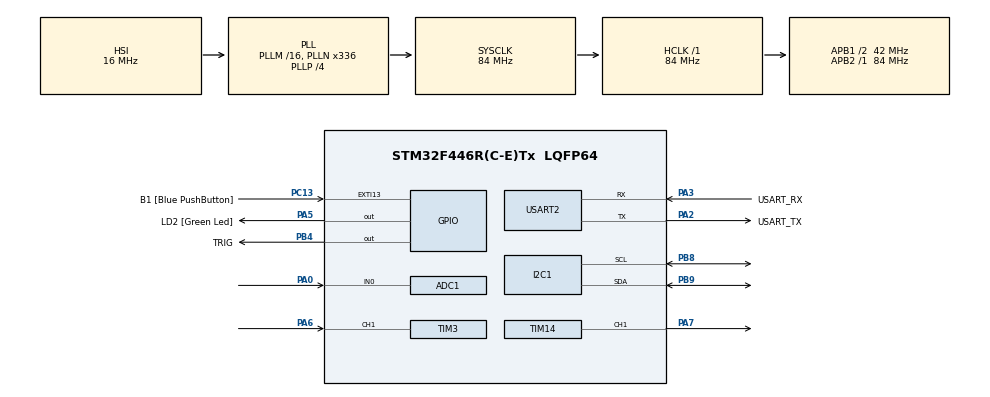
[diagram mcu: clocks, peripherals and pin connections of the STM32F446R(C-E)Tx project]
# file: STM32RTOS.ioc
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ADC1.Channel-0\#ChannelRegularConversion=ADC_CHANNEL_0
ADC1.NbrOfConversionFlag=1
ADC1.Rank-0\#ChannelRegularConversion=1
ADC1.SamplingTime-0\#ChannelRegularConversion=ADC_SAMPLETIME_3CYCLES
ADC1.master=1
FREERTOS.Tasks01=BLINK0,8,128,STARTBLINK0,Default,NULL,Dynamic,NULL,NULL;BLINK1,8,128,STARTBLINK1,Default,NULL,Dynamic,NULL,NULL;HANDLELCD,24,128,UPDATELCD,Default,NULL,Dynamic,NULL,NULL;HANDLEMOTION,32,128,UPDATEMOTION,Default,NULL,Dynamic,NULL,NULL;HANDLEDISTANCE,48,128,UPDATEDISTANCE,Default,NULL,Dynamic,NULL,NULL;HANDLESERVO,24,128,UPDATESERVO,Default,NULL,Dynamic,NULL,NULL
Mcu.Family=STM32F4
Mcu.Name=STM32F446R(C-E)Tx
Mcu.Package=LQFP64
NVIC.ADC_IRQn=true\:5\:0\:false\:false\:true\:true\:true\:true\:true
NVIC.PriorityGroup=NVIC_PRIORITYGROUP_4
NVIC.TIM3_IRQn=true\:5\:0\:false\:false\:true\:true\:true\:true\:true
NVIC.TIM7_IRQn=true\:15\:0\:false\:false\:true\:false\:false\:true\:true
NVIC.TIM8_BRK_TIM12_IRQn=true\:5\:0\:false\:false\:true\:true\:true\:true\:true
NVIC.TimeBase=TIM7_IRQn
NVIC.TimeBaseIP=TIM7
PA0-WKUP.Signal=ADCx_IN0
PA13.GPIO_Label=TMS
PA13.Mode=Serial_Wire
PA13.Signal=SYS_JTMS-SWDIO
PA14.GPIO_Label=TCK
PA14.Mode=Serial_Wire
PA14.Signal=SYS_JTCK-SWCLK
PA2.GPIO_Label=USART_TX
PA2.Mode=Asynchronous
PA2.Signal=USART2_TX
PA3.GPIO_Label=USART_RX
PA3.Mode=Asynchronous
PA3.Signal=USART2_RX
PA5.GPIO_Label=LD2 [Green Led]
PA5.Signal=GPIO_Output
PA6.Signal=S_TIM3_CH1
PA7.Signal=S_TIM14_CH1
PB3.GPIO_Label=SWO
PB3.Signal=SYS_JTDO-SWO
PB4.GPIO_Label=TRIG
PB4.Signal=GPIO_Output
PB8.Mode=I2C
PB8.Signal=I2C1_SCL
PB9.Mode=I2C
PB9.Signal=I2C1_SDA
PC13.GPIO_Label=B1 [Blue PushButton]
PC13.GPIO_ModeDefaultEXTI=GPIO_MODE_IT_FALLING
PC13.Signal=GPXTI13
PC14-OSC32_IN.Mode=LSE-External-Oscillator
PC14-OSC32_IN.Signal=RCC_OSC32_IN
PC15-OSC32_OUT.Mode=LSE-External-Oscillator
PC15-OSC32_OUT.Signal=RCC_OSC32_OUT
PH0-OSC_IN.Mode=HSE-External-Oscillator
PH0-OSC_IN.Signal=RCC_OSC_IN
PH1-OSC_OUT.Mode=HSE-External-Oscillator
PH1-OSC_OUT.Signal=RCC_OSC_OUT
ProjectManager.HeapSize=0x200
ProjectManager.StackSize=0x400
ProjectManager.TargetToolchain=STM32CubeIDE
RCC.48MHZClocksFreq_Value=84000000
RCC.AHBFreq_Value=84000000
RCC.APB1CLKDivider=RCC_HCLK_DIV2
RCC.APB1Freq_Value=42000000
RCC.APB1TimFreq_Value=84000000
RCC.APB2Freq_Value=84000000
RCC.APB2TimFreq_Value=84000000
RCC.CortexFreq_Value=84000000
RCC.FLatency-AdvancedSettings=FLASH_LATENCY_2
RCC.HCLKFreq_Value=84000000
RCC.HSE_VALUE=8000000
RCC.HSI_VALUE=16000000
RCC.PLLN=336
RCC.PLLP=RCC_PLLP_DIV4
RCC.SYSCLKFreq_VALUE=84000000
RCC.SYSCLKSource=RCC_SYSCLKSOURCE_PLLCLK
RCC.USBFreq_Value=168000000
RCC.VCOOutputFreq_Value=336000000
SH.ADCx_IN0.0=ADC1_IN0,IN0
SH.S_TIM14_CH1.0=TIM14_CH1,PWM Generation1 CH1
SH.S_TIM3_CH1.0=TIM3_CH1,Input_Capture1_from_TI1
TIM12.Period=1282
TIM12.Prescaler=65535
TIM14.Channel=TIM_CHANNEL_1
TIM14.Period=19999
TIM14.Prescaler=84-1
TIM14.Pulse=1500
TIM3.Channel-Input_Capture1_from_TI1=TIM_CHANNEL_1
TIM3.ICFilter_CH1=4
TIM3.ICPolarity_CH1=TIM_INPUTCHANNELPOLARITY_BOTHEDGE
TIM3.Prescaler=84-1
TIM6.Period=0
TIM6.Prescaler=84-1
USART2.VirtualMode=VM_ASYNC
VP_FREERTOS_VS_CMSIS_V2.Mode=CMSIS_V2
VP_SYS_VS_tim7.Mode=TIM7
VP_TIM12_VS_ClockSourceINT.Mode=Internal
VP_TIM14_VS_ClockSourceINT.Mode=Enable_Timer
VP_TIM3_VS_ClockSourceINT.Mode=Internal
VP_TIM6_VS_ClockSourceINT.Mode=Enable_Timer
board=NUCLEO-F446RE

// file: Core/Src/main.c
/* USER CODE BEGIN Header */
/**
  ******************************************************************************
  * @file           : main.c
  * @brief          : Main program body
  ******************************************************************************
  * @attention
  *
  * Copyright (c) 2024 STMicroelectronics.
  * All rights reserved.
  *
  * This software is licensed under terms that can be found in the LICENSE file
  * in the root directory of this software component.
  * If no LICENSE file comes with this software, it is provided AS-IS.
  *
  ******************************************************************************
  */
/* USER CODE END Header */
#include "main.h"
#include "cmsis_os.h"

/* USER CODE BEGIN Includes */
#include <stdio.h>
#include <string.h>

/* USER CODE END Includes */

/* USER CODE BEGIN PD */
#define SLAVE_ADDRESS_LCD 0x4E
#define usTIM TIM6
/* USER CODE END PD */

ADC_HandleTypeDef hadc1;

I2C_HandleTypeDef hi2c1;

TIM_HandleTypeDef htim3;
TIM_HandleTypeDef htim6;
TIM_HandleTypeDef htim12;
TIM_HandleTypeDef htim14;

UART_HandleTypeDef huart2;

/* Definitions for BLINK0 */
osThreadId_t BLINK0Handle;
const osThreadAttr_t BLINK0_attributes = {
  .name = "BLINK0",
  .stack_size = 128 * 4,
  .priority = (osPriority_t) osPriorityLow,
};
/* Definitions for BLINK1 */
osThreadId_t BLINK1Handle;
const osThreadAttr_t BLINK1_attributes = {
  .name = "BLINK1",
  .stack_size = 128 * 4,
  .priority = (osPriority_t) osPriorityLow,
};
/* Definitions for HANDLELCD */
osThreadId_t HANDLELCDHandle;
const osThreadAttr_t HANDLELCD_attributes = {
  .name = "HANDLELCD",
  .stack_size = 128 * 4,
  .priority = (osPriority_t) osPriorityNormal,
};
/* Definitions for HANDLEMOTION */
osThreadId_t HANDLEMOTIONHandle;
const osThreadAttr_t HANDLEMOTION_attributes = {
  .name = "HANDLEMOTION",
  .stack_size = 128 * 4,
  .priority = (osPriority_t) osPriorityAboveNormal,
};
/* Definitions for HANDLEDISTANCE */
osThreadId_t HANDLEDISTANCEHandle;
const osThreadAttr_t HANDLEDISTANCE_attributes = {
  .name = "HANDLEDISTANCE",
  .stack_size = 128 * 4,
  .priority = (osPriority_t) osPriorityRealtime,
};
/* Definitions for HANDLESERVO */
osThreadId_t HANDLESERVOHandle;
const osThreadAttr_t HANDLESERVO_attributes = {
  .name = "HANDLESERVO",
  .stack_size = 128 * 4,
  .priority = (osPriority_t) osPriorityNormal,
};
/* USER CODE BEGIN PV */

char LCD_BUF_0[16];
char LCD_BUF_1[16];
uint8_t serial[50];
uint16_t ADC_MOTION;
float DISTANCE = 0.0;
uint8_t icFlag = 0;
uint8_t capturedIdx = 0;
uint32_t edge1Time=0, edge2Time=0;
float speedofSound = 0.0343/2;
uint8_t servo_flag = 0;

/* USER CODE END PV */

void SystemClock_Config(void);
static void MX_GPIO_Init(void);
static void MX_USART2_UART_Init(void);
static void MX_I2C1_Init(void);
static void MX_ADC1_Init(void);
static void MX_TIM3_Init(void);
static void MX_TIM6_Init(void);
static void MX_TIM12_Init(void);
static void MX_TIM14_Init(void);
void STARTBLINK0(void *argument);
void STARTBLINK1(void *argument);
void UPDATELCD(void *argument);
void UPDATEMOTION(void *argument);
void UPDATEDISTANCE(void *argument);
void UPDATESERVO(void *argument);

/* USER CODE BEGIN 0 */

void lcd_send_cmd (char cmd)
{
  char data_u, data_l;
	uint8_t data_t[4];
	data_u = (cmd&0xf0);
	data_l = ((cmd<<4)&0xf0);
	data_t[0] = data_u|0x0C;  //en=1, rs=0
	data_t[1] = data_u|0x08;  //en=0, rs=0
	data_t[2] = data_l|0x0C;  //en=1, rs=0
	data_t[3] = data_l|0x08;  //en=0, rs=0
	HAL_I2C_Master_Transmit (&hi2c1, SLAVE_ADDRESS_LCD,(uint8_t *) data_t, 4, 100);
}

void lcd_send_data (char data)
{
	char data_u, data_l;
	uint8_t data_t[4];
	data_u = (data&0xf0);
	data_l = ((data<<4)&0xf0);
	data_t[0] = data_u|0x0D;  //en=1, rs=1
	data_t[1] = data_u|0x09;  //en=0, rs=1
	data_t[2] = data_l|0x0D;  //en=1, rs=1
	data_t[3] = data_l|0x09;  //en=0, rs=1
	HAL_I2C_Master_Transmit (&hi2c1, SLAVE_ADDRESS_LCD,(uint8_t *) data_t, 4, 100);
}

void lcd_clear(void)
{
	lcd_send_cmd (0x01);
	osDelay(10);
	lcd_send_cmd (0x06);
	osDelay(10);
}
void lcd_put_cur(int row, int col)
{
    switch (row)
    {
        case 0:
            col |= 0x80;
            break;
        case 1:
            col |= 0xC0;
            break;
    }

    lcd_send_cmd (col);
}

void lcd_init (void)
{
	// 4 bit initialisation
	osDelay(50);  // wait for >40ms
	lcd_send_cmd (0x30);
	osDelay(5);  // wait for >4.1ms
	lcd_send_cmd (0x30);
	osDelay(1);  // wait for >100us
	lcd_send_cmd (0x30);
	osDelay(10);
	lcd_send_cmd (0x20);  // 4bit mode
	osDelay(10);

  // dislay initialisation
	lcd_send_cmd (0x28); // Function set --> DL=0 (4 bit mode), N = 1 (2 line display) F = 0 (5x8 characters)
	osDelay(1);
	lcd_send_cmd (0x08); //Display on/off control --> D=0,C=0, B=0  ---> display off
	osDelay(1);
	lcd_send_cmd (0x01);  // clear display
	osDelay(1);
	osDelay(1);
	lcd_send_cmd (0x06); //Entry mode set --> I/D = 1 (increment cursor) & S = 0 (no shift)
	osDelay(1);
	lcd_send_cmd (0x0C); //Display on/off control --> D = 1, C and B = 0. (Cursor and blink, last two bits)
}

void lcd_send_string (char *str)
{
	while (*str) lcd_send_data (*str++);
}

/* USER CODE END 0 */

int main(void)
{

  /* MCU Configuration--------------------------------------------------------*/

  /* Reset of all peripherals, Initializes the Flash interface and the Systick. */
  HAL_Init();

  /* Configure the system clock */
  SystemClock_Config();

  /* Initialize all configured peripherals */
  MX_GPIO_Init();
  MX_USART2_UART_Init();
  MX_I2C1_Init();
  MX_ADC1_Init();
  MX_TIM3_Init();
  MX_TIM6_Init();
  MX_TIM12_Init();
  MX_TIM14_Init();
  /* USER CODE BEGIN 2 */
	sprintf(serial,"MAIN ENTRY \r\n",DISTANCE);
	HAL_UART_Transmit(&huart2, (uint8_t *)serial, sizeof(serial), 100);

  /* USER CODE END 2 */

  /* Init scheduler */
  osKernelInitialize();

  /* Create the thread(s) */
  /* creation of BLINK0 */
  BLINK0Handle = osThreadNew(STARTBLINK0, NULL, &BLINK0_attributes);

  /* creation of BLINK1 */
  BLINK1Handle = osThreadNew(STARTBLINK1, NULL, &BLINK1_attributes);

  /* creation of HANDLELCD */
  HANDLELCDHandle = osThreadNew(UPDATELCD, NULL, &HANDLELCD_attributes);

  /* creation of HANDLEMOTION */
  HANDLEMOTIONHandle = osThreadNew(UPDATEMOTION, NULL, &HANDLEMOTION_attributes);

  /* creation of HANDLEDISTANCE */
  HANDLEDISTANCEHandle = osThreadNew(UPDATEDISTANCE, NULL, &HANDLEDISTANCE_attributes);

  /* creation of HANDLESERVO */
  HANDLESERVOHandle = osThreadNew(UPDATESERVO, NULL, &HANDLESERVO_attributes);

  /* Start scheduler */
  osKernelStart();

  /* We should never get here as control is now taken by the scheduler */

  /* Infinite loop */
  while (1)
  {

  }
}

void SystemClock_Config(void)
{
  RCC_OscInitTypeDef RCC_OscInitStruct = {0};
  RCC_ClkInitTypeDef RCC_ClkInitStruct = {0};

  /** Configure the main internal regulator output voltage
  */
  __HAL_RCC_PWR_CLK_ENABLE();
  __HAL_PWR_VOLTAGESCALING_CONFIG(PWR_REGULATOR_VOLTAGE_SCALE3);

  /** Initializes the RCC Oscillators according to the specified parameters
  * in the RCC_OscInitTypeDef structure.
  */
  RCC_OscInitStruct.OscillatorType = RCC_OSCILLATORTYPE_HSI;
  RCC_OscInitStruct.HSIState = RCC_HSI_ON;
  RCC_OscInitStruct.HSICalibrationValue = RCC_HSICALIBRATION_DEFAULT;
  RCC_OscInitStruct.PLL.PLLState = RCC_PLL_ON;
  RCC_OscInitStruct.PLL.PLLSource = RCC_PLLSOURCE_HSI;
  RCC_OscInitStruct.PLL.PLLM = 16;
  RCC_OscInitStruct.PLL.PLLN = 336;
  RCC_OscInitStruct.PLL.PLLP = RCC_PLLP_DIV4;
  RCC_OscInitStruct.PLL.PLLQ = 2;
  RCC_OscInitStruct.PLL.PLLR = 2;
  if (HAL_RCC_OscConfig(&RCC_OscInitStruct) != HAL_OK)
  {
    Error_Handler();
  }

  /** Initializes the CPU, AHB and APB buses clocks
  */
  RCC_ClkInitStruct.ClockType = RCC_CLOCKTYPE_HCLK|RCC_CLOCKTYPE_SYSCLK
                              |RCC_CLOCKTYPE_PCLK1|RCC_CLOCKTYPE_PCLK2;
  RCC_ClkInitStruct.SYSCLKSource = RCC_SYSCLKSOURCE_PLLCLK;
  RCC_ClkInitStruct.AHBCLKDivider = RCC_SYSCLK_DIV1;
  RCC_ClkInitStruct.APB1CLKDivider = RCC_HCLK_DIV2;
  RCC_ClkInitStruct.APB2CLKDivider = RCC_HCLK_DIV1;

  if (HAL_RCC_ClockConfig(&RCC_ClkInitStruct, FLASH_LATENCY_2) != HAL_OK)
  {
    Error_Handler();
  }
}

static void MX_ADC1_Init(void)
{

  ADC_ChannelConfTypeDef sConfig = {0};

  /** Configure the global features of the ADC (Clock, Resolution, Data Alignment and number of conversion)
  */
  hadc1.Instance = ADC1;
  hadc1.Init.ClockPrescaler = ADC_CLOCK_SYNC_PCLK_DIV4;
  hadc1.Init.Resolution = ADC_RESOLUTION_12B;
  hadc1.Init.ScanConvMode = DISABLE;
  hadc1.Init.ContinuousConvMode = DISABLE;
  hadc1.Init.DiscontinuousConvMode = DISABLE;
  hadc1.Init.ExternalTrigConvEdge = ADC_EXTERNALTRIGCONVEDGE_NONE;
  hadc1.Init.ExternalTrigConv = ADC_SOFTWARE_START;
  hadc1.Init.DataAlign = ADC_DATAALIGN_RIGHT;
  hadc1.Init.NbrOfConversion = 1;
  hadc1.Init.DMAContinuousRequests = DISABLE;
  hadc1.Init.EOCSelection = ADC_EOC_SINGLE_CONV;
  if (HAL_ADC_Init(&hadc1) != HAL_OK)
  {
    Error_Handler();
  }

  /** Configure for the selected ADC regular channel its corresponding rank in the sequencer and its sample time.
  */
  sConfig.Channel = ADC_CHANNEL_0;
  sConfig.Rank = 1;
  sConfig.SamplingTime = ADC_SAMPLETIME_3CYCLES;
  if (HAL_ADC_ConfigChannel(&hadc1, &sConfig) != HAL_OK)
  {
    Error_Handler();
  }

}

static void MX_I2C1_Init(void)
{

  hi2c1.Instance = I2C1;
  hi2c1.Init.ClockSpeed = 100000;
  hi2c1.Init.DutyCycle = I2C_DUTYCYCLE_2;
  hi2c1.Init.OwnAddress1 = 0;
  hi2c1.Init.AddressingMode = I2C_ADDRESSINGMODE_7BIT;
  hi2c1.Init.DualAddressMode = I2C_DUALADDRESS_DISABLE;
  hi2c1.Init.OwnAddress2 = 0;
  hi2c1.Init.GeneralCallMode = I2C_GENERALCALL_DISABLE;
  hi2c1.Init.NoStretchMode = I2C_NOSTRETCH_DISABLE;
  if (HAL_I2C_Init(&hi2c1) != HAL_OK)
  {
    Error_Handler();
  }

}

static void MX_TIM3_Init(void)
{

  TIM_ClockConfigTypeDef sClockSourceConfig = {0};
  TIM_MasterConfigTypeDef sMasterConfig = {0};
  TIM_IC_InitTypeDef sConfigIC = {0};

  htim3.Instance = TIM3;
  htim3.Init.Prescaler = 84-1;
  htim3.Init.CounterMode = TIM_COUNTERMODE_UP;
  htim3.Init.Period = 65535;
  htim3.Init.ClockDivision = TIM_CLOCKDIVISION_DIV1;
  htim3.Init.AutoReloadPreload = TIM_AUTORELOAD_PRELOAD_DISABLE;
  if (HAL_TIM_Base_Init(&htim3) != HAL_OK)
  {
    Error_Handler();
  }
  sClockSourceConfig.ClockSource = TIM_CLOCKSOURCE_INTERNAL;
  if (HAL_TIM_ConfigClockSource(&htim3, &sClockSourceConfig) != HAL_OK)
  {
    Error_Handler();
  }
  if (HAL_TIM_IC_Init(&htim3) != HAL_OK)
  {
    Error_Handler();
  }
  sMasterConfig.MasterOutputTrigger = TIM_TRGO_RESET;
  sMasterConfig.MasterSlaveMode = TIM_MASTERSLAVEMODE_DISABLE;
  if (HAL_TIMEx_MasterConfigSynchronization(&htim3, &sMasterConfig) != HAL_OK)
  {
    Error_Handler();
  }
  sConfigIC.ICPolarity = TIM_INPUTCHANNELPOLARITY_BOTHEDGE;
  sConfigIC.ICSelection = TIM_ICSELECTION_DIRECTTI;
  sConfigIC.ICPrescaler = TIM_ICPSC_DIV1;
  sConfigIC.ICFilter = 4;
  if (HAL_TIM_IC_ConfigChannel(&htim3, &sConfigIC, TIM_CHANNEL_1) != HAL_OK)
  {
    Error_Handler();
  }

}

static void MX_TIM6_Init(void)
{

  TIM_MasterConfigTypeDef sMasterConfig = {0};

  htim6.Instance = TIM6;
  htim6.Init.Prescaler = 84-1;
  htim6.Init.CounterMode = TIM_COUNTERMODE_UP;
  htim6.Init.Period = 0;
  htim6.Init.AutoReloadPreload = TIM_AUTORELOAD_PRELOAD_DISABLE;
  if (HAL_TIM_Base_Init(&htim6) != HAL_OK)
  {
    Error_Handler();
  }
  sMasterConfig.MasterOutputTrigger = TIM_TRGO_RESET;
  sMasterConfig.MasterSlaveMode = TIM_MASTERSLAVEMODE_DISABLE;
  if (HAL_TIMEx_MasterConfigSynchronization(&htim6, &sMasterConfig) != HAL_OK)
  {
    Error_Handler();
  }

}

static void MX_TIM12_Init(void)
{

  TIM_ClockConfigTypeDef sClockSourceConfig = {0};

  htim12.Instance = TIM12;
  htim12.Init.Prescaler = 65535;
  htim12.Init.CounterMode = TIM_COUNTERMODE_UP;
  htim12.Init.Period = 1282;
  htim12.Init.ClockDivision = TIM_CLOCKDIVISION_DIV1;
  htim12.Init.AutoReloadPreload = TIM_AUTORELOAD_PRELOAD_DISABLE;
  if (HAL_TIM_Base_Init(&htim12) != HAL_OK)
  {
    Error_Handler();
  }
  sClockSourceConfig.ClockSource = TIM_CLOCKSOURCE_INTERNAL;
  if (HAL_TIM_ConfigClockSource(&htim12, &sClockSourceConfig) != HAL_OK)
  {
    Error_Handler();
  }

}

static void MX_TIM14_Init(void)
{

  TIM_OC_InitTypeDef sConfigOC = {0};

  htim14.Instance = TIM14;
  htim14.Init.Prescaler = 84-1;
  htim14.Init.CounterMode = TIM_COUNTERMODE_UP;
  htim14.Init.Period = 19999;
  htim14.Init.ClockDivision = TIM_CLOCKDIVISION_DIV1;
  htim14.Init.AutoReloadPreload = TIM_AUTORELOAD_PRELOAD_DISABLE;
  if (HAL_TIM_Base_Init(&htim14) != HAL_OK)
  {
    Error_Handler();
  }
  if (HAL_TIM_PWM_Init(&htim14) != HAL_OK)
  {
    Error_Handler();
  }
  sConfigOC.OCMode = TIM_OCMODE_PWM1;
  sConfigOC.Pulse = 1500;
  sConfigOC.OCPolarity = TIM_OCPOLARITY_HIGH;
  sConfigOC.OCFastMode = TIM_OCFAST_DISABLE;
  if (HAL_TIM_PWM_ConfigChannel(&htim14, &sConfigOC, TIM_CHANNEL_1) != HAL_OK)
  {
    Error_Handler();
  }
  HAL_TIM_MspPostInit(&htim14);

}

static void MX_USART2_UART_Init(void)
{

  huart2.Instance = USART2;
  huart2.Init.BaudRate = 115200;
  huart2.Init.WordLength = UART_WORDLENGTH_8B;
  huart2.Init.StopBits = UART_STOPBITS_1;
  huart2.Init.Parity = UART_PARITY_NONE;
  huart2.Init.Mode = UART_MODE_TX_RX;
  huart2.Init.HwFlowCtl = UART_HWCONTROL_NONE;
  huart2.Init.OverSampling = UART_OVERSAMPLING_16;
  if (HAL_UART_Init(&huart2) != HAL_OK)
  {
    Error_Handler();
  }

}

static void MX_GPIO_Init(void)
{
  GPIO_InitTypeDef GPIO_InitStruct = {0};

  /* GPIO Ports Clock Enable */
  __HAL_RCC_GPIOC_CLK_ENABLE();
  __HAL_RCC_GPIOH_CLK_ENABLE();
  __HAL_RCC_GPIOA_CLK_ENABLE();
  __HAL_RCC_GPIOB_CLK_ENABLE();

  /*Configure GPIO pin Output Level */
  HAL_GPIO_WritePin(LD2_GPIO_Port, LD2_Pin, GPIO_PIN_RESET);

  /*Configure GPIO pin Output Level */
  HAL_GPIO_WritePin(TRIG_GPIO_Port, TRIG_Pin, GPIO_PIN_RESET);

  /*Configure GPIO pin : B1_Pin */
  GPIO_InitStruct.Pin = B1_Pin;
  GPIO_InitStruct.Mode = GPIO_MODE_IT_FALLING;
  GPIO_InitStruct.Pull = GPIO_NOPULL;
  HAL_GPIO_Init(B1_GPIO_Port, &GPIO_InitStruct);

  /*Configure GPIO pin : LD2_Pin */
  GPIO_InitStruct.Pin = LD2_Pin;
  GPIO_InitStruct.Mode = GPIO_MODE_OUTPUT_PP;
  GPIO_InitStruct.Pull = GPIO_NOPULL;
  GPIO_InitStruct.Speed = GPIO_SPEED_FREQ_LOW;
  HAL_GPIO_Init(LD2_GPIO_Port, &GPIO_InitStruct);

  /*Configure GPIO pin : TRIG_Pin */
  GPIO_InitStruct.Pin = TRIG_Pin;
  GPIO_InitStruct.Mode = GPIO_MODE_OUTPUT_PP;
  GPIO_InitStruct.Pull = GPIO_NOPULL;
  GPIO_InitStruct.Speed = GPIO_SPEED_FREQ_LOW;
  HAL_GPIO_Init(TRIG_GPIO_Port, &GPIO_InitStruct);

}

/* USER CODE BEGIN 4 */

void usDelay(uint32_t uSec){
	if(uSec < 2) uSec = 2;
	usTIM->ARR = uSec - 1;
	usTIM->EGR = 1;
	usTIM->SR &= ~1;
	usTIM->CR1 |= 1;
	while((usTIM->SR&0x0001) != 1);
	usTIM->SR &= ~(0x0001);
}

void HAL_ADC_ConvCpltCallback(ADC_HandleTypeDef* h){
	if(h == &hadc1){
		ADC_MOTION = HAL_ADC_GetValue(&hadc1);
	}
}

void HAL_TIM_IC_CaptureCallback(TIM_HandleTypeDef *htim){

	if(capturedIdx == 0){
		edge1Time = HAL_TIM_ReadCapturedValue(htim, TIM_CHANNEL_1);
		capturedIdx = 1;
	}
	else if(capturedIdx == 1){
		edge2Time = HAL_TIM_ReadCapturedValue(htim, TIM_CHANNEL_1);
		capturedIdx = 0;
		icFlag = 1;
	}
    // Calculate Distance
    if(edge2Time > edge1Time) {
      DISTANCE = ((edge2Time - edge1Time) + 0.0f) * speedofSound;
      sprintf(LCD_BUF_1,"DIS: %06.2f cm",DISTANCE);
    }
    else{
    	sprintf(LCD_BUF_1,"DIS: %06.2f cm",0.0f);
    }
}

/* USER CODE END 4 */

void STARTBLINK0(void *argument)
{
  /* USER CODE BEGIN 5 */
  /* Infinite loop */
  for(;;)
  {
    HAL_GPIO_TogglePin(LD2_GPIO_Port,LD2_Pin);
    osDelay(500);
  }
  osThreadTerminate(NULL);
  /* USER CODE END 5 */
}

void STARTBLINK1(void *argument)
{
  /* USER CODE BEGIN STARTBLINK1 */
  /* Infinite loop */
  for(;;)
  {
	HAL_GPIO_TogglePin(LD2_GPIO_Port,LD2_Pin);
    osDelay(600);
  }
  osThreadTerminate(NULL);
  /* USER CODE END STARTBLINK1 */
}

void UPDATELCD(void *argument)
{
  /* USER CODE BEGIN UPDATELCD */
	lcd_init();
	sprintf(LCD_BUF_0,"ADC RAW: %u",ADC_MOTION);
	sprintf(LCD_BUF_1,"DIS: %06.2f cm",DISTANCE);
  /* Infinite loop */
  for(;;)
  {
	lcd_clear();
	lcd_send_string(LCD_BUF_0);
	lcd_put_cur(1, 0);
	lcd_send_string(LCD_BUF_1);
    osDelay(1000);
  }
  osThreadTerminate(NULL);
  /* USER CODE END UPDATELCD */
}

void UPDATEMOTION(void *argument)
{
  /* USER CODE BEGIN UPDATEMOTION */
  /* Infinite loop */
  for(;;)
  {
	HAL_ADC_Start_IT(&hadc1);
	sprintf(LCD_BUF_0,"ADC RAW: %u",ADC_MOTION);
    osDelay(500);
  }
  osThreadTerminate(NULL);
  /* USER CODE END UPDATEMOTION */
}

void UPDATEDISTANCE(void *argument)
{
  /* USER CODE BEGIN UPDATEDISTANCE */
	  /* Infinite loop */
	  for(;;)
	  {
	    // Set TRIG LOW for 3 us
	    HAL_GPIO_WritePin(TRIG_GPIO_Port, TRIG_Pin, GPIO_PIN_RESET);
	    usDelay(3);

	    // Output 10us TRIG
	    HAL_GPIO_WritePin(TRIG_GPIO_Port, TRIG_Pin, GPIO_PIN_SET);
	    usDelay(10);
	    HAL_GPIO_WritePin(TRIG_GPIO_Port, TRIG_Pin, GPIO_PIN_RESET);

	    // Start IC timer
	    HAL_TIM_IC_Start_IT(&htim3, TIM_CHANNEL_1);

	    // Wait for IC flag with a timeout (optional)
	    uint32_t startTick = HAL_GetTick();
	    do {
	      if(icFlag) break;
	    } while((HAL_GetTick() - startTick) < 500);

	    icFlag = 0;
	    HAL_TIM_IC_Stop_IT(&htim3, TIM_CHANNEL_1);

	    // Calculate Distance
	    if(edge2Time > edge1Time) {
	      DISTANCE = ((edge2Time - edge1Time) + 0.0f) * speedofSound;
	    } else {
	      DISTANCE = 0.0f;
	    }

	    // RTOS delay instead of HAL_Delay
	    osDelay(2000); // Delay 1 second (adjust as needed)
	  }
  osThreadTerminate(NULL);
  /* USER CODE END UPDATEDISTANCE */
}

void UPDATESERVO(void *argument)
{
  /* USER CODE BEGIN UPDATESERVO */
	HAL_TIM_PWM_Start(&htim14, TIM_CHANNEL_1);

  /* Infinite loop */
  for(;;)
  {
	  uint32_t startTick = HAL_GetTick();

	  while((HAL_GetTick() - startTick) < 5000);

	  if(servo_flag == 0){
		  __HAL_TIM_SET_COMPARE(&htim14, TIM_CHANNEL_1, 900);
		  servo_flag = 1;
		}
	  else{
		  __HAL_TIM_SET_COMPARE(&htim14, TIM_CHANNEL_1, 2100);
		  servo_flag = 0;
		}

	  //osDelay(5000);
  }
  /* USER CODE END UPDATESERVO */
}

void HAL_TIM_PeriodElapsedCallback(TIM_HandleTypeDef *htim)
{
  if (htim->Instance == TIM7) {
    HAL_IncTick();
  }
}

void Error_Handler(void)
{
  __disable_irq();
  while (1)
  {
  }
}
